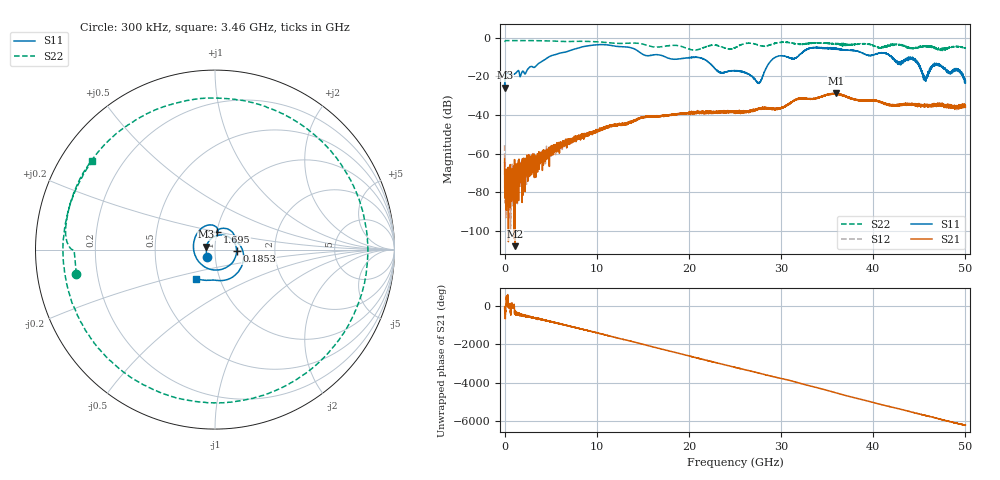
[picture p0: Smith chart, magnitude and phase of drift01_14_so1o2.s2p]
!Created with skrf (http://scikit-rf.org).
# Hz S RI R 50.0
!freq ReS11 ImS11 ReS21 ImS21 ReS12 ImS12 ReS22 ImS22
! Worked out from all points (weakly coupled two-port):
!   10001 points, 300 kHz to 50 GHz, reference 50 ohm
!   highest |S21| = -28.74 dB at 35.95 GHz (marker M1); lowest = -108.0 dB at 1.13 GHz (marker M2)
!   lowest |S11| = -25.8 dB at 5.3 MHz (marker M3), VSWR 1.11, Z = 45.3 + j1.43 ohm
!   |S11| at or under -10 dB: start of sweep to 4.763 GHz; 20.84 GHz to 29.4 GHz (8.57 GHz wide, 34.1 % of centre); 44.04 GHz to end of sweep (the widest 3 of 17)
!   |S22| runs from -6.6 to -1.4 dB; largest |S21 - S12| = 0.0035
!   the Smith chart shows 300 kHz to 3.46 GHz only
!   S11 on the Smith chart (normalised r, x): 300 kHz: 0.91, -0.07; 185.3 MHz: 1.27, -0.02; 1.695 GHz: 1.00, +0.20; 3.46 GHz: 0.77, -0.26
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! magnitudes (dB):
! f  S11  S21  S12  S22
! 300 kHz  -24.1  -62.7  -55.7  -2.1
! 5.3 MHz  -25.8  -73.3  -72.1  -2.1
! 185.3 MHz  -18.4  -77.2  -83.3  -1.4
! 1.13 GHz  -18.6  -108.0  -69.9  -1.5
! 1.695 GHz  -20.1  -72.3  -68.2  -1.4
! 3.46 GHz  -14.3  -64.4  -61.8  -1.5
! 8.335 GHz  -4.8  -50.7  -52.4  -1.8
! 16.67 GHz  -8.7  -40.8  -40.5  -4.8
! 21.17 GHz  -10.3  -38.7  -39.2  -5.9
! 25 GHz  -17.0  -37.9  -38.0  -5.1
! 27.59 GHz  -23.4  -36.9  -36.8  -3.9
! 29.28 GHz  -10.3  -37.0  -36.8  -2.8
! 31.45 GHz  -10.7  -32.4  -32.4  -3.0
! 33.34 GHz  -5.2  -31.7  -31.6  -2.7
! 35.95 GHz  -5.7  -28.7  -29.1  -3.1
! 41.67 GHz  -8.9  -34.7  -34.9  -4.2
! 42.74 GHz  -12.8  -34.6  -34.7  -3.3
! 44.41 GHz  -11.1  -34.3  -34.5  -5.3
! 45.63 GHz  -21.2  -34.8  -35.2  -4.3
! 46.96 GHz  -13.4  -33.9  -34.3  -5.8
! 49.25 GHz  -17.5  -35.8  -36.0  -4.6
! 50 GHz  -22.3  -35.7  -35.3  -5.4
